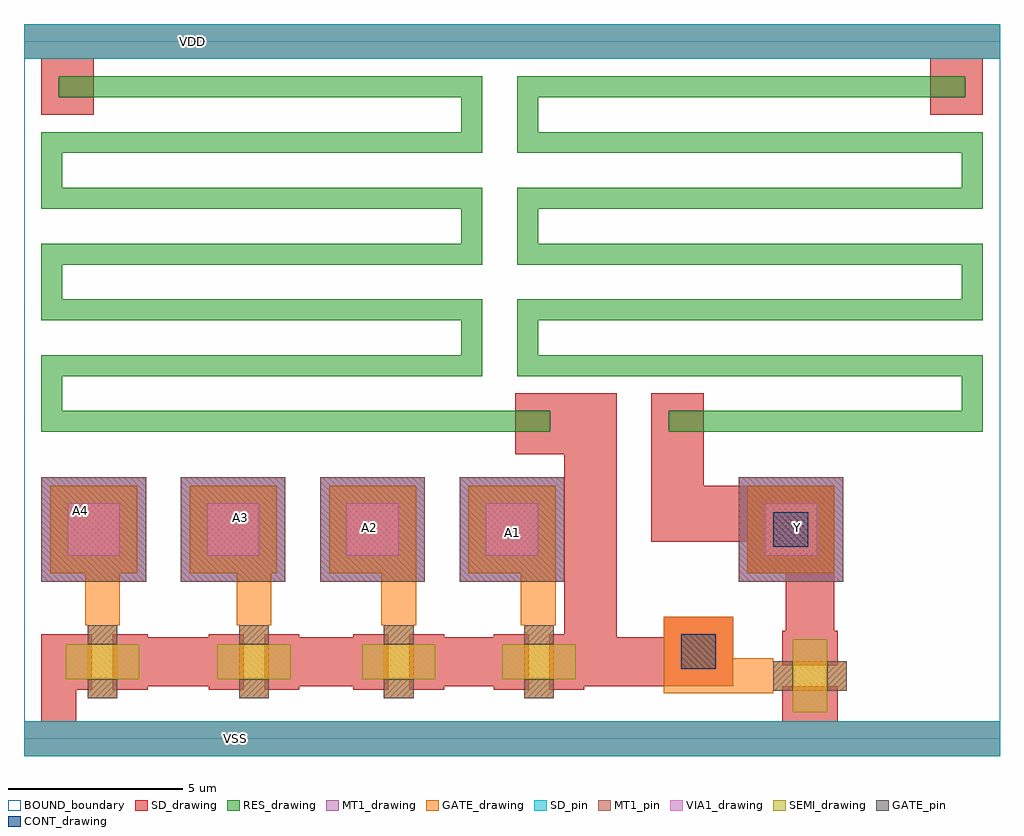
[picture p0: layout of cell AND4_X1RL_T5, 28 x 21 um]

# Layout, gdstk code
from math import pi, radians
import gdstk
lib = gdstk.Library(unit=1e-6, precision=1e-09)
def R(c, l, rs):  # rectangles x0, y0, x1, y1
    for r in rs: c.add(gdstk.rectangle(r[:2], r[2:], *l))
def A(c, l, x, y, w, h, nx, ny, dx, dy):  # array of equal rectangles
    R(c, l, [(x+i*dx, y+j*dy, x+i*dx+w, y+j*dy+h) for i in range(nx) for j in range(ny)])
def P(c, l, *ps):  # polygons
    for p in ps: c.add(gdstk.Polygon(p, *l))
RES_drawing = (1, 0)
SEMI_drawing = (3, 0)
SD_drawing = (10, 0)
SD_pin = (10, 3)
GATE_drawing = (11, 0)
GATE_pin = (11, 3)
MT1_drawing = (20, 0)
MT1_pin = (20, 3)
CONT_drawing = (30, 0)
VIA1_drawing = (41, 0)
BOUND_boundary = (150, 5)

nch_cdns_772544860430 = lib.new_cell('nch_CDNS_772544860430')
R(nch_cdns_772544860430, SEMI_drawing, [(-1.05,-0.5,1.05,0.5)])
R(nch_cdns_772544860430, SD_drawing, [(-1.3,-0.8,-0.3,0.8), (0.3,-0.8,1.3,0.8)])
R(nch_cdns_772544860430, GATE_drawing, [(-0.425,-1.05,0.425,1.05)])
R(nch_cdns_772544860430, GATE_pin, [(-0.425,-1.05,0.425,-0.5), (-0.425,0.5,0.425,1.05)])

gate_mt1_cdns_7725448604 = lib.new_cell('GATE_MT1_CDNS_772544860430')
R(gate_mt1_cdns_7725448604, GATE_drawing, [(-1.25,-1.25,1.25,1.25)])
R(gate_mt1_cdns_7725448604, MT1_drawing, [(-1.25,-1.25,1.25,1.25)])
R(gate_mt1_cdns_7725448604, VIA1_drawing, [(-0.75,-0.75,0.75,0.75)])

sd_gate_cdns_77254486043 = lib.new_cell('SD_GATE_CDNS_772544860431')
R(sd_gate_cdns_77254486043, SD_drawing, [(-1,-1,1,1)])
R(sd_gate_cdns_77254486043, GATE_drawing, [(-1,-1,1,1)])
R(sd_gate_cdns_77254486043, CONT_drawing, [(-0.5,-0.5,0.5,0.5)])

c_sd_gate_cdns_77254486043 = lib.new_cell('SD_GATE_CDNS_772544860432')
R(c_sd_gate_cdns_77254486043, SD_drawing, [(-1.25,-1.25,1.25,1.25)])
R(c_sd_gate_cdns_77254486043, GATE_drawing, [(-1.25,-1.25,1.25,1.25)])
R(c_sd_gate_cdns_77254486043, CONT_drawing, [(-0.5,-0.5,0.5,0.5)])

and4_x1rl_t5 = lib.new_cell('AND4_X1RL_T5')
R(and4_x1rl_t5, SD_drawing, [(0,-0.5,28,0.5), (0.5,0.5,1.5,3), (18,5.65,22,7.25), (18,7.25,19.5,9.9), (14.1,8.15,17,9.9), (0.5,17.9,2,19.5), (26,17.9,27.5,19.5), (0,19.5,28,20.5)])
R(and4_x1rl_t5, SD_pin, [(0,-0.5,28,0.5), (0,19.5,28,20.5)])
P(and4_x1rl_t5, GATE_drawing, [(7.1,3.35),(6.1,3.35),(6.1,3.25),(6.225,3.25),(6.225,3.2),(6.975,3.2),(6.975,3.25),(7.1,3.25)],
  [(15.25,3.35),(14.25,3.35),(14.25,3.25),(14.4,3.25),(14.4,3.2),(15.15,3.2),(15.15,3.25),(15.25,3.25)],
  [(21.4,2.3),(21.4,1.3),(21.5,1.3),(21.5,1.425),(21.55,1.425),(21.55,2.175),(21.5,2.175),(21.5,2.3)],
  [(11.25,3.35),(10.25,3.35),(10.25,3.25),(10.375,3.25),(10.375,3.2),(11.125,3.2),(11.125,3.25),(11.25,3.25)],
  [(2.75,3.35),(1.75,3.35),(1.75,3.25),(1.875,3.25),(1.875,3.2),(2.625,3.2),(2.625,3.25),(2.75,3.25)])
A(and4_x1rl_t5, MT1_drawing, 0.5, 4.5, 3, 3, 4, 1, 4, 0)
R(and4_x1rl_t5, MT1_drawing, [(20.5,4.5,23.5,7.5)])
A(and4_x1rl_t5, MT1_pin, 0.5, 4.5, 3, 3, 4, 1, 4, 0)
R(and4_x1rl_t5, MT1_pin, [(20.5,4.5,23.5,7.5)])
R(and4_x1rl_t5, BOUND_boundary, [(0,0,28,20)])
and4_x1rl_t5.add(gdstk.FlexPath([(2.25,3.35),(2.25,5.825)], 1, ends="flush", simple_path=True, layer=11, datatype=0))  # GATE_drawing
and4_x1rl_t5.add(gdstk.FlexPath([(6.6,3.35),(6.6,5.15)], 1, ends="flush", simple_path=True, layer=11, datatype=0))  # GATE_drawing
and4_x1rl_t5.add(gdstk.FlexPath([(14.75,3.35),(14.75,5.35)], 1, ends="flush", simple_path=True, layer=11, datatype=0))  # GATE_drawing
and4_x1rl_t5.add(gdstk.FlexPath([(21.4,1.8),(18.35,1.8)], 1, ends="flush", simple_path=True, layer=11, datatype=0))  # GATE_drawing
and4_x1rl_t5.add(gdstk.FlexPath([(10.75,3.35),(10.75,5.325)], 1, ends="flush", simple_path=True, layer=11, datatype=0))  # GATE_drawing
and4_x1rl_t5.add(gdstk.FlexPath([(16.25,8.15),(16.25,2.2)], 1.5, ends=(0, 0.7), simple_path=True, layer=10, datatype=0))  # SD_drawing
and4_x1rl_t5.add(gdstk.FlexPath([(16.55,2.2),(20.25,2.2)], 1.4, ends=(0.8, 0), simple_path=True, layer=10, datatype=0))  # SD_drawing
and4_x1rl_t5.add(gdstk.FlexPath([(22.55,3.1),(22.55,7.25)], 1.4, ends="flush", simple_path=True, layer=10, datatype=0))  # SD_drawing
and4_x1rl_t5.add(gdstk.FlexPath([(3.55,2.2),(5.3,2.2)], 1.4, ends="flush", simple_path=True, layer=10, datatype=0))  # SD_drawing
and4_x1rl_t5.add(gdstk.FlexPath([(12.05,2.2),(13.475,2.2)], 1.4, ends="flush", simple_path=True, layer=10, datatype=0))  # SD_drawing
and4_x1rl_t5.add(gdstk.FlexPath([(7.9,2.2),(9.45,2.2)], 1.4, ends="flush", simple_path=True, layer=10, datatype=0))  # SD_drawing
and4_x1rl_t5.add(gdstk.FlexPath([(26,18.7),(14.45,18.7),(14.45,17.1),(27.2,17.1),(27.2,15.5),(14.45,15.5),(14.45,13.9),(27.2,13.9),(27.2,12.3),(14.45,12.3),(14.45,10.7),(27.2,10.7),(27.2,9.1),(18.5,9.1)], 0.6, ends=(1, 0), simple_path=True, layer=1, datatype=0))  # RES_drawing
and4_x1rl_t5.add(gdstk.FlexPath([(2,18.7),(12.85,18.7),(12.85,17.1),(0.8,17.1),(0.8,15.5),(12.85,15.5),(12.85,13.9),(0.8,13.9),(0.8,12.3),(12.85,12.3),(12.85,10.7),(0.8,10.7),(0.8,9.1),(14.1,9.1)], 0.6, ends=(1, 1), simple_path=True, layer=1, datatype=0))  # RES_drawing
and4_x1rl_t5.add(gdstk.Reference(nch_cdns_772544860430, (2.25,2.2)))
and4_x1rl_t5.add(gdstk.Reference(nch_cdns_772544860430, (22.55,1.8), rotation=pi/2))
and4_x1rl_t5.add(gdstk.Reference(nch_cdns_772544860430, (6.6,2.2)))
and4_x1rl_t5.add(gdstk.Reference(nch_cdns_772544860430, (14.775,2.2)))
and4_x1rl_t5.add(gdstk.Reference(nch_cdns_772544860430, (10.75,2.2)))
and4_x1rl_t5.add(gdstk.Reference(gate_mt1_cdns_7725448604, (2,6)))
and4_x1rl_t5.add(gdstk.Reference(gate_mt1_cdns_7725448604, (6,6)))
and4_x1rl_t5.add(gdstk.Reference(gate_mt1_cdns_7725448604, (22,6)))
and4_x1rl_t5.add(gdstk.Reference(gate_mt1_cdns_7725448604, (14,6)))
and4_x1rl_t5.add(gdstk.Reference(gate_mt1_cdns_7725448604, (10,6)))
and4_x1rl_t5.add(gdstk.Reference(sd_gate_cdns_77254486043, (19.35,2.5)))
and4_x1rl_t5.add(gdstk.Reference(c_sd_gate_cdns_77254486043, (22,6)))
and4_x1rl_t5.add(gdstk.Label('VDD', (4.825,20), layer=10, texttype=3))
and4_x1rl_t5.add(gdstk.Label('VSS', (6.075,0), layer=10, texttype=3))
and4_x1rl_t5.add(gdstk.Label('A3', (6.2,6.35), layer=20, texttype=3))
and4_x1rl_t5.add(gdstk.Label('Y', (22.2,6.05), layer=20, texttype=3))
and4_x1rl_t5.add(gdstk.Label('A2', (9.9,6.05), layer=20, texttype=3))
and4_x1rl_t5.add(gdstk.Label('A1', (14,5.9), layer=20, texttype=3))
and4_x1rl_t5.add(gdstk.Label('A4', (1.625,6.55), layer=20, texttype=3))

lib.write_gds('AND4_X1RL_T5.gds')
